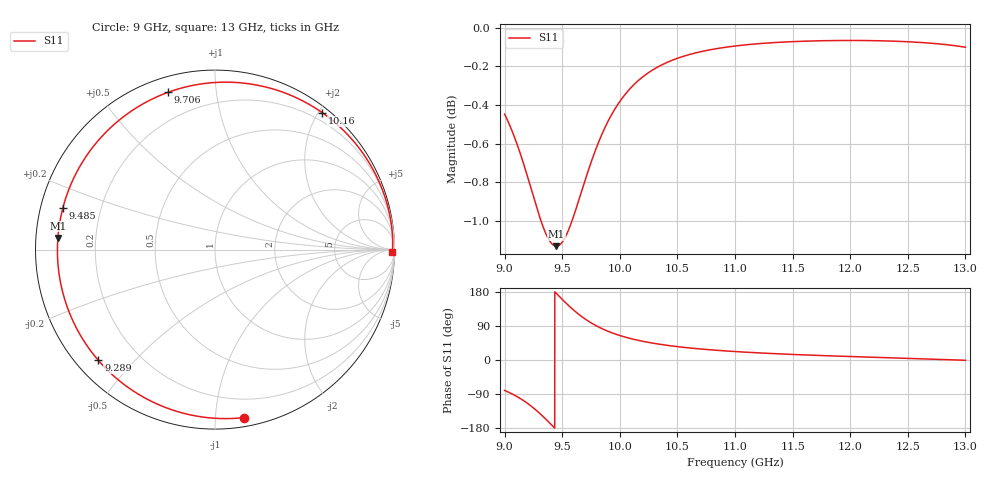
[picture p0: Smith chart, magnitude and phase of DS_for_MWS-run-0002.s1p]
! TOUCHSTONE file generated by CST DESIGN STUDIO
! Date and time: Tue Feb  4 18:28:20 2025
! Project name: C:\Work\MatlabApps\UnitCellOptimizationMatlab\CST\unitcell.cst
! Tree item: Tasks\Sweep1\SPara1\S-Parameters
! Header version: 2024
! Port assignment regex: !\s*Touchstone port\s*([0-9]+)\s*=\s*(CST MWS port|CST DES external port|CST DES block port)\s*(.+)\s* \(\"(.*)\"\)(\s*mode\s*([0-9]+))?.*
! Touchstone port assignment:
! Touchstone port 1 = CST DES external port 1 ("")
# GHz S MA R 50
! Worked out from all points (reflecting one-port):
!   4001 points, 9 GHz to 13 GHz, reference 50 ohm
!   lowest |S11| = -1.1 dB at 9.449 GHz (marker M1), VSWR 15.37, Z = 3.26 + j1.82 ohm
!   phase of S11 starts at -80 deg and turns -280 deg over the sweep
!   S11 on the Smith chart (normalised r, x): 9 GHz: 0.06, -1.18; 9.289 GHz: 0.06, -0.40; 9.485 GHz: 0.07, +0.13; 9.706 GHz: 0.07, +0.74; 10.16 GHz: 0.08, +2.05; 13 GHz: open
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9  0.9498 -80.3
9.089  0.9363 -93.4
9.161  0.9228 -106.5
9.227  0.9091 -120.8
9.289  0.8963 -136.5
9.334  0.8881 -149.1
9.374  0.8824 -160.9
9.412  0.879 -172.6
9.449  0.8778 175.8
9.485  0.8789 164.6
9.5  0.8799 160.0
9.553  0.8861 144.3
9.603  0.8944 130.7
9.653  0.904 118.3
9.706  0.9145 106.7
9.773  0.9269 94.0
9.852  0.9395 81.8
9.924  0.949 72.6
10  0.957 64.6
10.16  0.969 51.9
10.314  0.9763 43.1
10.5  0.982 35.3
10.723  0.9862 28.5
11  0.9892 22.3
11.5  0.9918 14.7
12  0.9925 9.1
12.5  0.9918 4.4
13  0.9885 -0.7
